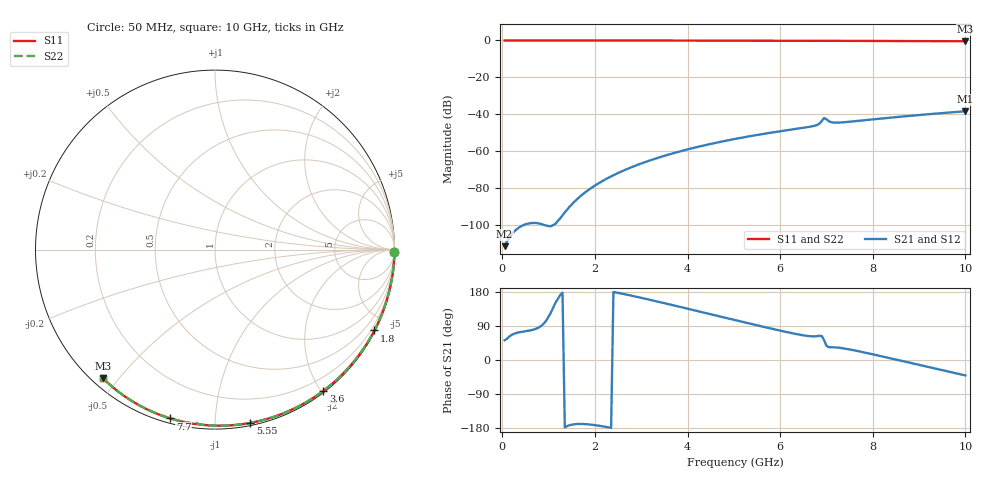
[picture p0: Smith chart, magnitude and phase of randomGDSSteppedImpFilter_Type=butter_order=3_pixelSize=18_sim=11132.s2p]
! freq	dB(S11)	phase(S11)	dB(S12)	phase(S12)
!  dB(S21)	phase(S21)	dB(S22)	phase(S22)
!S-par simulation data
#  GHz  S  DB  R 50
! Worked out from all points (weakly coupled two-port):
!   200 points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, 50 MHz to 10 GHz, reference 50 ohm
!   highest |S21| = -38.27 dB at 10 GHz (marker M1); lowest = -111.2 dB at 50 MHz (marker M2)
!   lowest |S11| = -0.4 dB at 10 GHz (marker M3), VSWR 39.39, Z = 1.53 - j22.7 ohm
!   |S11| at or under -10 dB: nowhere
!   |S22| runs from -0.4 to 0.0 dB; largest |S21 - S12| = 0
!   S11 on the Smith chart (normalised r, x): 50 MHz: open; 1.8 GHz: 0.04, -4.19; 3.6 GHz: 0.02, -2.03; 5.55 GHz: 0.02, -1.22; 7.7 GHz: 0.02, -0.77; 10 GHz: 0.03, -0.45
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0.05  -0.00 -0.8  -111.19 52.0  -111.19 52.0  -0.00 -0.8
0.9  -0.02 -13.6  -99.70 96.9  -99.70 96.9  -0.02 -13.6
1.75  -0.03 -26.1  -82.88 -168.9  -82.88 -168.9  -0.03 -26.1
1.8  -0.03 -26.9  -81.91 -169.3  -81.91 -169.3  -0.03 -26.9
1.9  -0.04 -28.3  -80.10 -170.4  -80.10 -170.4  -0.04 -28.3
2.25  -0.04 -33.4  -74.76 -176.8  -74.76 -176.8  -0.04 -33.4
2.65  -0.05 -39.2  -69.96 173.5  -69.96 173.5  -0.05 -39.2
3  -0.06 -44.1  -66.49 164.1  -66.49 164.1  -0.06 -44.2
3.4  -0.07 -49.8  -63.11 152.8  -63.11 152.8  -0.07 -49.8
3.6  -0.07 -52.5  -61.61 147.1  -61.61 147.1  -0.07 -52.6
4.3  -0.09 -62.1  -57.06 126.6  -57.06 126.6  -0.09 -62.1
5.05  -0.11 -72.0  -53.12 104.6  -53.12 104.6  -0.11 -72.1
5.55  -0.13 -78.5  -50.88 90.1  -50.88 90.1  -0.13 -78.5
6.7  -0.18 -92.8  -46.39 62.3  -46.39 62.3  -0.18 -93.0
6.8  -0.19 -94.1  -45.65 63.0  -45.65 63.0  -0.19 -94.2
6.85  -0.19 -94.7  -44.90 64.0  -44.90 64.0  -0.20 -94.9
6.95  -0.20 -95.8  -41.93 51.8  -41.93 51.8  -0.26 -96.0
7.05  -0.19 -97.0  -43.65 33.9  -43.65 33.9  -0.22 -96.9
7.15  -0.20 -98.3  -44.38 33.5  -44.38 33.5  -0.22 -98.2
7.7  -0.24 -104.8  -43.43 22.9  -43.43 22.9  -0.24 -104.8
8.35  -0.28 -112.4  -41.80 5.4  -41.80 5.4  -0.29 -112.4
10  -0.44 -131.1  -38.27 -40.7  -38.27 -40.7  -0.44 -131.1
